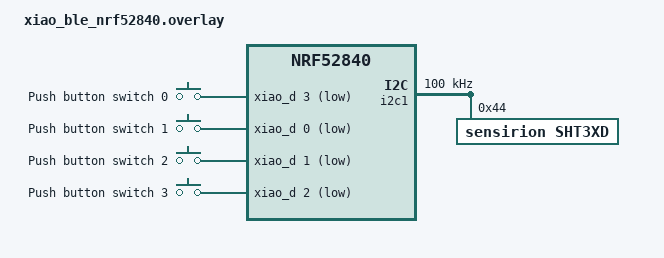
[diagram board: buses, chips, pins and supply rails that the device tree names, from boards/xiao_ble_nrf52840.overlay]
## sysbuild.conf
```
SB_CONFIG_MATTER=y
SB_CONFIG_PARTITION_MANAGER=n
SB_CONFIG_BOOTLOADER_NONE=y
SB_CONFIG_MATTER_OTA=n
SB_CONFIG_MATTER_FACTORY_DATA_GENERATE=n
```

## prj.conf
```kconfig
# Matter
CONFIG_CHIP=y
CONFIG_CHIP_PROJECT_CONFIG="src/chip_project_config.h"
CONFIG_CHIP_DEVICE_PRODUCT_NAME="Matter Temperature Sensor"
CONFIG_CHIP_DEVICE_PRODUCT_ID=32781
CONFIG_NCS_SAMPLE_MATTER_ZAP_FILE_PATH="${APPLICATION_CONFIG_DIR}/src/default_zap/temperature_sensor.zap"
CONFIG_STD_CPP17=y

# No bootloader, no OTA, no factory data
CONFIG_CHIP_BOOTLOADER_NONE=y
CONFIG_CHIP_OTA_REQUESTOR=n
CONFIG_CHIP_FACTORY_DATA_NONE=y

# Commissioning over BLE
CONFIG_CHIP_ENABLE_PAIRING_AUTOSTART=y
CONFIG_CHIP_BLE_EXT_ADVERTISING=y
CONFIG_CHIP_BLE_ADVERTISING_DURATION=60
CONFIG_CHIP_NFC_ONBOARDING_PAYLOAD=n
CONFIG_BT_DEVICE_NAME="MatterTemperature"
CONFIG_BT_DEVICE_NAME_MAX=18

# Buttons and LEDs
CONFIG_DK_LIBRARY=y

# Power
CONFIG_PM_DEVICE=y

# Debug
CONFIG_THREAD_NAME=y
CONFIG_MPU_STACK_GUARD=y
CONFIG_RESET_ON_FATAL_ERROR=n
CONFIG_CHIP_LIB_SHELL=y
CONFIG_USE_SEGGER_RTT=n

# sensor
CONFIG_I2C=y
CONFIG_SENSOR=y
```

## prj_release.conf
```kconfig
# Matter
CONFIG_CHIP=y
CONFIG_CHIP_PROJECT_CONFIG="src/chip_project_config.h"
CONFIG_CHIP_DEVICE_PRODUCT_NAME="Matter Temperature Sensor"
CONFIG_CHIP_DEVICE_PRODUCT_ID=32781
CONFIG_NCS_SAMPLE_MATTER_ZAP_FILE_PATH="${APPLICATION_CONFIG_DIR}/src/default_zap/temperature_sensor.zap"
CONFIG_STD_CPP17=y

# No bootloader, no OTA, no factory data
CONFIG_CHIP_BOOTLOADER_NONE=y
CONFIG_CHIP_OTA_REQUESTOR=n
CONFIG_CHIP_FACTORY_DATA_NONE=y

# Commissioning over BLE
CONFIG_CHIP_ENABLE_PAIRING_AUTOSTART=y
CONFIG_CHIP_BLE_EXT_ADVERTISING=y
CONFIG_CHIP_BLE_ADVERTISING_DURATION=60
CONFIG_CHIP_NFC_ONBOARDING_PAYLOAD=n
CONFIG_BT_DEVICE_NAME="MatterTemperature"
CONFIG_BT_DEVICE_NAME_MAX=18

# Buttons and LEDs
CONFIG_DK_LIBRARY=y

# Power
CONFIG_PM_DEVICE=y
CONFIG_RAM_POWER_DOWN_LIBRARY=y

# Reliability
CONFIG_RESET_ON_FATAL_ERROR=y
CONFIG_NCS_SAMPLE_MATTER_WATCHDOG=y

# Disable debug features
CONFIG_USE_SEGGER_RTT=n
CONFIG_SHELL=n
CONFIG_OPENTHREAD_SHELL=n
CONFIG_CONSOLE=n
CONFIG_UART_CONSOLE=n
CONFIG_SERIAL=n
CONFIG_LOG=n
CONFIG_LOG_MODE_MINIMAL=n
CONFIG_ASSERT_VERBOSE=n
CONFIG_ASSERT_NO_FILE_INFO=y
CONFIG_PRINTK=n
CONFIG_PRINTK_SYNC=n
CONFIG_THREAD_NAME=n
CONFIG_BOOT_BANNER=n

# Size
CONFIG_LTO=y
CONFIG_ISR_TABLES_LOCAL_DECLARATION=y
```

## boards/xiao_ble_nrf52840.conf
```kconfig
CONFIG_BOOTLOADER_MCUBOOT=n
CONFIG_DFU_TARGET_MCUBOOT=n
```

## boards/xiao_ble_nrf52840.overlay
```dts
/ {
	buttons {
		compatible = "gpio-keys";

		button0: button0 {
			gpios = <&xiao_d 3 (GPIO_PULL_UP | GPIO_ACTIVE_LOW)>;
			label = "Push button switch 0";
			zephyr,code = <INPUT_KEY_0>;
		};

		button1: button1 {
			gpios = <&xiao_d 0 (GPIO_PULL_UP | GPIO_ACTIVE_LOW)>;
			label = "Push button switch 1";
			zephyr,code = <INPUT_KEY_1>;
		};

		button2: button2 {
			gpios = <&xiao_d 1 (GPIO_PULL_UP | GPIO_ACTIVE_LOW)>;
			label = "Push button switch 2";
			zephyr,code = <INPUT_KEY_2>;
		};

		button3: button3 {
			gpios = <&xiao_d 2 (GPIO_PULL_UP | GPIO_ACTIVE_LOW)>;
			label = "Push button switch 3";
			zephyr,code = <INPUT_KEY_3>;
		};
	};
};

&i2c1 {
	status = "okay";
	clock-frequency = <I2C_BITRATE_STANDARD>;

	sht3xd: sht3xd@44 {
		compatible = "sensirion,sht3xd";
		reg = <0x44>;
	};
};
```

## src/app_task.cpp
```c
/*
 * Copyright (c) 2025 Nordic Semiconductor ASA
 *
 * SPDX-License-Identifier: LicenseRef-Nordic-5-Clause
 */

#include "app_task.h"

#include "app/matter_init.h"
#include "app/task_executor.h"
#include "board/board.h"
#include "clusters/identify.h"
#include "lib/core/CHIPError.h"

#include <app-common/zap-generated/attributes/Accessors.h>

#include <zephyr/drivers/sensor.h>
#include <zephyr/logging/log.h>

LOG_MODULE_DECLARE(app, CONFIG_CHIP_APP_LOG_LEVEL);

#define SHT30_NODE DT_NODELABEL(sht3xd)
static const struct device *const sht30 = DEVICE_DT_GET(SHT30_NODE);

using namespace ::chip;
using namespace ::chip::app;
using namespace ::chip::DeviceLayer;

namespace
{
	constexpr chip::EndpointId kTemperatureSensorEndpointId = 1;
	constexpr chip::EndpointId kHumiditySensorEndpointId = 2;

	Nrf::Matter::IdentifyCluster sTemperatureIdentifyCluster(kTemperatureSensorEndpointId);
	Nrf::Matter::IdentifyCluster sHumidityIdentifyCluster(kHumiditySensorEndpointId);

} /* namespace */

void AppTask::UpdateMeasurement()
{
	int ret = sensor_sample_fetch(sht30);
	if (ret < 0)
	{
		LOG_ERR("SHT30 fetch error");
		return;
	}

	UpdateTemperature();
	UpdateHumidity();
}

void AppTask::UpdateTemperature()
{
	struct sensor_value temp;
	int ret = sensor_channel_get(sht30, SENSOR_CHAN_AMBIENT_TEMP, &temp);
	if (ret < 0)
	{
		LOG_ERR("SHT30 channel temperature read failed");
		return;
	}
	int16_t measuredTemperature = static_cast<int16_t>(temp.val1 * 100 + temp.val2 / 10000);
	if (measuredTemperature < mTemperatureSensorMinValue || measuredTemperature > mTemperatureSensorMaxValue)
	{
		LOG_WRN("SHT30 Temperature out of range");
		return;
	}
	mCurrentTemperature = measuredTemperature;
}

void AppTask::UpdateHumidity()
{
	struct sensor_value hum;
	int ret = sensor_channel_get(sht30, SENSOR_CHAN_HUMIDITY, &hum);
	if (ret < 0)
	{
		LOG_ERR("SHT30 channel humidity read failed");
		return;
	}

	uint16_t measuredHumidity = static_cast<uint16_t>(hum.val1 * 100 + hum.val2 / 10000);
	if (measuredHumidity < mHumiditySensorMinValue || measuredHumidity > mHumiditySensorMaxValue)
	{
		LOG_WRN("SHT30 Humidity out of range");
		return;
	}
	mCurrentHumidity = measuredHumidity;
}

void AppTask::UpdateMeasurementTimeoutCallback(k_timer *timer)
{
	if (!timer || !timer->user_data)
	{
		return;
	}

	DeviceLayer::PlatformMgr().ScheduleWork(
			[](intptr_t p)
			{
				AppTask::Instance().UpdateMeasurement();

				Protocols::InteractionModel::Status status =
						Clusters::TemperatureMeasurement::Attributes::MeasuredValue::Set(
								kTemperatureSensorEndpointId, AppTask::Instance().GetCurrentTemperature());

				if (status != Protocols::InteractionModel::Status::Success)
				{
					LOG_ERR("Updating temperature measurement failed %x", to_underlying(status));
				}

				status =
						Clusters::RelativeHumidityMeasurement::Attributes::MeasuredValue::Set(
								kHumiditySensorEndpointId, AppTask::Instance().GetCurrentHumidity());

				if (status != Protocols::InteractionModel::Status::Success)
				{
					LOG_ERR("Updating humidity measurement failed %x", to_underlying(status));
				}

			},
			reinterpret_cast<intptr_t>(timer->user_data));
}

CHIP_ERROR AppTask::Init()
{
	/* Initialize Matter stack */
	ReturnErrorOnFailure(Nrf::Matter::PrepareServer());

	if (!Nrf::GetBoard().Init())
	{
		LOG_ERR("User interface initialization failed.");
		return CHIP_ERROR_INCORRECT_STATE;
	}

	if (!device_is_ready(sht30))
	{
		LOG_ERR("SHT30 is not ready");
		return CHIP_ERROR_INCORRECT_STATE;
	}

	/* Register Matter event handler that controls the connectivity status LED based on the captured Matter network
	 * state. */
	ReturnErrorOnFailure(Nrf::Matter::RegisterEventHandler(Nrf::Board::DefaultMatterEventHandler, 0));

	ReturnErrorOnFailure(sTemperatureIdentifyCluster.Init());
	ReturnErrorOnFailure(sHumidityIdentifyCluster.Init());

	return Nrf::Matter::StartServer();
}

CHIP_ERROR AppTask::StartApp()
{
	ReturnErrorOnFailure(Init());

	DataModel::Nullable<int16_t> val;
	Protocols::InteractionModel::Status status =
			Clusters::TemperatureMeasurement::Attributes::MinMeasuredValue::Get(kTemperatureSensorEndpointId, val);

	if (status != Protocols::InteractionModel::Status::Success || val.IsNull())
	{
		LOG_ERR("Failed to get temperature measurement min value %x", to_underlying(status));
		return CHIP_ERROR_INCORRECT_STATE;
	}

	mTemperatureSensorMinValue = val.Value();

	status = Clusters::TemperatureMeasurement::Attributes::MaxMeasuredValue::Get(kTemperatureSensorEndpointId, val);

	if (status != Protocols::InteractionModel::Status::Success || val.IsNull())
	{
		LOG_ERR("Failed to get temperature measurement max value %x", to_underlying(status));
		return CHIP_ERROR_INCORRECT_STATE;
	}

	mTemperatureSensorMaxValue = val.Value();

	DataModel::Nullable<uint16_t> valu;
	status =
			Clusters::RelativeHumidityMeasurement::Attributes::MinMeasuredValue::Get(kHumiditySensorEndpointId, valu);

	if (status != Protocols::InteractionModel::Status::Success || valu.IsNull())
	{
		LOG_ERR("Failed to get humidity measurement min value %x", to_underlying(status));
		return CHIP_ERROR_INCORRECT_STATE;
	}

	mHumiditySensorMinValue = valu.Value();

	status = Clusters::RelativeHumidityMeasurement::Attributes::MaxMeasuredValue::Get(kHumiditySensorEndpointId, valu);

	if (status != Protocols::InteractionModel::Status::Success || valu.IsNull())
	{
		LOG_ERR("Failed to get humidity measurement max value %x", to_underlying(status));
		return CHIP_ERROR_INCORRECT_STATE;
	}

	mHumiditySensorMaxValue = valu.Value();

	k_timer_init(&mTimer, AppTask::UpdateMeasurementTimeoutCallback, nullptr);
	k_timer_user_data_set(&mTimer, this);
	k_timer_start(&mTimer, K_NO_WAIT, K_MSEC(kMeasurementIntervalMs));

	while (true)
	{
		Nrf::DispatchNextTask();
	}

	return CHIP_NO_ERROR;
}
```

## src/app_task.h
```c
/*
 * Copyright (c) 2025 Nordic Semiconductor ASA
 *
 * SPDX-License-Identifier: LicenseRef-Nordic-5-Clause
 */

#pragma once

#include "board/board.h"

#include <platform/CHIPDeviceLayer.h>

struct Identify;

class AppTask
{
public:
	static AppTask &Instance()
	{
		static AppTask sAppTask;
		return sAppTask;
	};

	CHIP_ERROR StartApp();

	void UpdateMeasurement();

	int16_t GetCurrentTemperature() const { return mCurrentTemperature; }
	uint16_t GetCurrentHumidity() const { return mCurrentHumidity; }

private:
	CHIP_ERROR Init();
	k_timer mTimer;

	static constexpr uint16_t kMeasurementIntervalMs = 10000; /* 10 seconds */

	static void UpdateMeasurementTimeoutCallback(k_timer *timer);

	int16_t mTemperatureSensorMaxValue = 0;
	int16_t mTemperatureSensorMinValue = 0;
	int16_t mCurrentTemperature = 0;

	uint16_t mHumiditySensorMaxValue = 0;
	uint16_t mHumiditySensorMinValue = 0;
	uint16_t mCurrentHumidity = 0;

	void UpdateTemperature();
	void UpdateHumidity();
};
```
